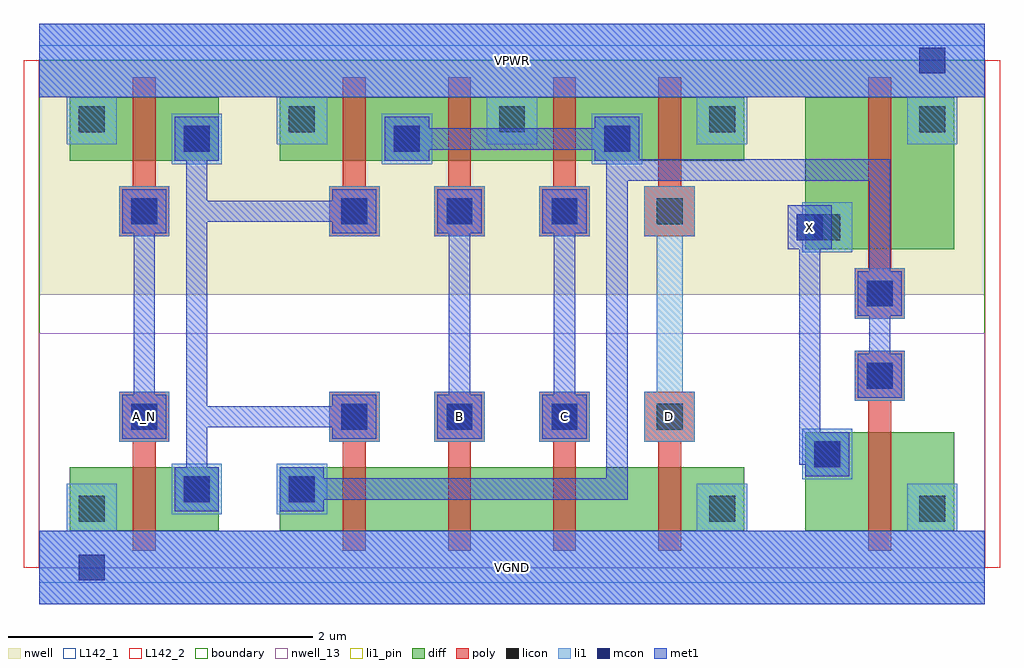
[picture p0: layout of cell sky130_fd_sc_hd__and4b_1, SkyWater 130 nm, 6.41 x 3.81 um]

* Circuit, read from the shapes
.subckt sky130_fd_sc_hd__and4b_1 A_N B C D VGND VPWR X
XM1 n1 A_N VGND VSUBS sky130_fd_pr__nfet_01v8 w=0.42 l=0.15
XM2 n2 n1 n3 VSUBS sky130_fd_pr__nfet_01v8 w=0.42 l=0.15
XM3 n4 B n2 VSUBS sky130_fd_pr__nfet_01v8 w=0.42 l=0.15
XM4 n5 C n4 VSUBS sky130_fd_pr__nfet_01v8 w=0.42 l=0.15
XM5 VGND D n5 VSUBS sky130_fd_pr__nfet_01v8 w=0.42 l=0.15
XM6 VGND n3 X VSUBS sky130_fd_pr__nfet_01v8 w=0.65 l=0.15
XM7 n1 A_N VPWR n6 sky130_fd_pr__pfet_01v8 w=0.42 l=0.15
XM8 n3 n1 VPWR n6 sky130_fd_pr__pfet_01v8 w=0.42 l=0.15
XM9 VPWR B n3 n6 sky130_fd_pr__pfet_01v8 w=0.42 l=0.15
XM10 n3 C VPWR n6 sky130_fd_pr__pfet_01v8 w=0.42 l=0.15
XM11 VPWR D n3 n6 sky130_fd_pr__pfet_01v8 w=0.42 l=0.15
XM12 VPWR n3 X n6 sky130_fd_pr__pfet_01v8 w=1 l=0.15
.ends

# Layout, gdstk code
import gdstk
lib = gdstk.Library(unit=1e-6, precision=1e-09)
def R(c, l, rs):  # rectangles x0, y0, x1, y1
    for r in rs: c.add(gdstk.rectangle(r[:2], r[2:], *l))
def A(c, l, x, y, w, h, nx, ny, dx, dy):  # array of equal rectangles
    R(c, l, [(x+i*dx, y+j*dy, x+i*dx+w, y+j*dy+h) for i in range(nx) for j in range(ny)])
def P(c, l, *ps):  # polygons
    for p in ps: c.add(gdstk.Polygon(p, *l))
nwell_13 = (64, 13)
nwell = (64, 20)
diff = (65, 20)
poly = (66, 20)
licon = (66, 44)
li1_pin = (67, 16)
li1 = (67, 20)
mcon = (67, 44)
met1 = (68, 20)
L142_1 = (142, 1)
L142_2 = (142, 2)
boundary = (235, 4)

sky130_fd_sc_hd__and4b_1 = lib.new_cell('sky130_fd_sc_hd__and4b_1')
R(sky130_fd_sc_hd__and4b_1, nwell_13, [(0,0,6.21,1.54)])
R(sky130_fd_sc_hd__and4b_1, nwell, [(0,1.79,6.21,3.33)])
A(sky130_fd_sc_hd__and4b_1, diff, 1.995, 0.24, 0.69, 0.42, 3, 2, 0.69, 2.43)
R(sky130_fd_sc_hd__and4b_1, diff, [(0.2,0.24,1.18,0.66), (0.2,0.24,0.615,0.66), (0.615,0.24,1.18,0.66), (1.58,0.24,4.63,0.66), (1.58,0.24,1.995,0.66), (4.065,0.24,4.63,0.66), (5.03,0.24,6.01,0.89), (5.03,0.24,5.445,0.89), (5.445,0.24,6.01,0.89), (5.03,2.09,6.01,3.09), (5.03,2.09,5.445,3.09), (5.445,2.09,6.01,3.09), (0.2,2.67,1.18,3.09), (0.2,2.67,0.615,3.09), (0.615,2.67,1.18,3.09), (1.58,2.67,4.63,3.09), (1.58,2.67,1.995,3.09), (4.065,2.67,4.63,3.09)])
P(sky130_fd_sc_hd__and4b_1, poly, [(2.685,0.11),(2.685,0.825),(2.595,0.825),(2.595,1.155),(2.925,1.155),(2.925,0.825),(2.835,0.825),(2.835,0.11)],
  [(2.595,2.175),(2.595,2.505),(2.685,2.505),(2.685,3.22),(2.835,3.22),(2.835,2.505),(2.925,2.505),(2.925,2.175)],
  [(5.445,0.11),(5.445,1.095),(5.355,1.095),(5.355,1.425),(5.685,1.425),(5.685,1.095),(5.595,1.095),(5.595,0.11)],
  [(5.355,1.635),(5.355,1.965),(5.445,1.965),(5.445,3.22),(5.595,3.22),(5.595,1.965),(5.685,1.965),(5.685,1.635)],
  [(4.065,0.11),(4.065,0.825),(3.975,0.825),(3.975,1.155),(4.305,1.155),(4.305,0.825),(4.215,0.825),(4.215,0.11)],
  [(3.975,2.175),(3.975,2.505),(4.065,2.505),(4.065,3.22),(4.215,3.22),(4.215,2.505),(4.305,2.505),(4.305,2.175)],
  [(0.615,0.11),(0.615,0.825),(0.525,0.825),(0.525,1.155),(0.855,1.155),(0.855,0.825),(0.765,0.825),(0.765,0.11)],
  [(0.525,2.175),(0.525,2.505),(0.615,2.505),(0.615,3.22),(0.765,3.22),(0.765,2.505),(0.855,2.505),(0.855,2.175)],
  [(3.375,0.11),(3.375,0.825),(3.285,0.825),(3.285,1.155),(3.615,1.155),(3.615,0.825),(3.525,0.825),(3.525,0.11)],
  [(3.285,2.175),(3.285,2.505),(3.375,2.505),(3.375,3.22),(3.525,3.22),(3.525,2.505),(3.615,2.505),(3.615,2.175)],
  [(1.995,0.11),(1.995,0.825),(1.905,0.825),(1.905,1.155),(2.235,1.155),(2.235,0.825),(2.145,0.825),(2.145,0.11)],
  [(1.905,2.175),(1.905,2.505),(1.995,2.505),(1.995,3.22),(2.145,3.22),(2.145,2.505),(2.235,2.505),(2.235,2.175)])
A(sky130_fd_sc_hd__and4b_1, licon, 1.985, 0.905, 0.17, 0.17, 4, 2, 0.69, 1.35)
A(sky130_fd_sc_hd__and4b_1, licon, 0.95, 2.73, 0.17, 0.17, 3, 1, 1.38, 0)
A(sky130_fd_sc_hd__and4b_1, licon, 0.26, 2.86, 0.17, 0.17, 5, 1, 1.38, 0)
R(sky130_fd_sc_hd__and4b_1, licon, [(0.26,0.3,0.43,0.47), (4.4,0.3,4.57,0.47), (5.78,0.3,5.95,0.47), (0.95,0.43,1.12,0.6), (1.64,0.43,1.81,0.6), (5.09,0.66,5.26,0.83), (0.605,0.905,0.775,1.075), (5.435,1.175,5.605,1.345), (5.435,1.715,5.605,1.885), (5.09,2.15,5.26,2.32), (0.605,2.255,0.775,2.425)])
R(sky130_fd_sc_hd__and4b_1, li1_pin, [(0,-0.24,6.21,0.24), (0.525,0.825,0.855,1.155), (2.595,0.825,2.925,1.155), (3.285,0.825,3.615,1.155), (0,3.09,6.21,3.57)])
P(sky130_fd_sc_hd__and4b_1, li1_pin, [(5.01,2.07),(5.01,2.15),(4.975,2.15),(4.975,2.32),(5.01,2.32),(5.01,2.4),(5.34,2.4),(5.34,2.07)],
  [(3.975,0.825),(3.975,1.155),(4.055,1.155),(4.055,2.175),(3.975,2.175),(3.975,2.505),(4.305,2.505),(4.305,2.175),(4.225,2.175),(4.225,1.155),(4.305,1.155),(4.305,0.825)])
A(sky130_fd_sc_hd__and4b_1, li1, 1.905, 0.825, 0.33, 0.33, 3, 2, 0.69, 1.35)
A(sky130_fd_sc_hd__and4b_1, li1, 0.87, 2.65, 0.33, 0.33, 3, 1, 1.38, 0)
R(sky130_fd_sc_hd__and4b_1, li1, [(0.87,0.35,1.2,0.68), (1.56,0.35,1.89,0.68), (5.01,0.58,5.34,0.91), (0.525,0.825,0.855,1.155), (5.355,1.095,5.685,1.425), (5.355,1.635,5.685,1.965), (0.525,2.175,0.855,2.505)])
P(sky130_fd_sc_hd__and4b_1, li1, [(3.975,0.825),(3.975,1.155),(4.055,1.155),(4.055,2.175),(3.975,2.175),(3.975,2.505),(4.305,2.505),(4.305,2.175),(4.225,2.175),(4.225,1.155),(4.305,1.155),(4.305,0.825)],
  [(0.18,2.78),(0.18,3.09),(0,3.09),(0,3.57),(6.21,3.57),(6.21,3.09),(6.03,3.09),(6.03,2.78),(5.7,2.78),(5.7,3.09),(4.65,3.09),(4.65,2.78),(4.32,2.78),(4.32,3.09),(3.27,3.09),(3.27,2.78),(2.94,2.78),(2.94,3.09),(1.89,3.09),(1.89,2.78),(1.56,2.78),(1.56,3.09),(0.51,3.09),(0.51,2.78)],
  [(0,-0.24),(0,0.24),(0.18,0.24),(0.18,0.55),(0.51,0.55),(0.51,0.24),(4.32,0.24),(4.32,0.55),(4.65,0.55),(4.65,0.24),(5.7,0.24),(5.7,0.55),(6.03,0.55),(6.03,0.24),(6.21,0.24),(6.21,-0.24)],
  [(5.01,2.07),(5.01,2.15),(4.975,2.15),(4.975,2.32),(5.01,2.32),(5.01,2.4),(5.34,2.4),(5.34,2.07)])
A(sky130_fd_sc_hd__and4b_1, mcon, 1.985, 0.905, 0.17, 0.17, 3, 2, 0.69, 1.35)
A(sky130_fd_sc_hd__and4b_1, mcon, 0.95, 2.73, 0.17, 0.17, 3, 1, 1.38, 0)
R(sky130_fd_sc_hd__and4b_1, mcon, [(0.26,-0.085,0.43,0.085), (0.95,0.43,1.12,0.6), (1.64,0.43,1.81,0.6), (5.09,0.66,5.26,0.83), (0.605,0.905,0.775,1.075), (5.435,1.175,5.605,1.345), (5.435,1.715,5.605,1.885), (4.975,2.15,5.145,2.32), (0.605,2.255,0.775,2.425), (5.78,3.245,5.95,3.415)])
R(sky130_fd_sc_hd__and4b_1, met1, [(0,-0.24,6.21,0.24), (0,3.09,6.21,3.57)])
P(sky130_fd_sc_hd__and4b_1, met1, [(2.615,0.845),(2.615,1.135),(2.69,1.135),(2.69,2.195),(2.615,2.195),(2.615,2.485),(2.905,2.485),(2.905,2.195),(2.83,2.195),(2.83,1.135),(2.905,1.135),(2.905,0.845)],
  [(1.58,0.37),(1.58,0.66),(1.87,0.66),(1.87,0.585),(3.725,0.585),(3.725,2.67),(3.65,2.67),(3.65,2.745),(2.56,2.745),(2.56,2.67),(2.27,2.67),(2.27,2.96),(2.56,2.96),(2.56,2.885),(3.65,2.885),(3.65,2.96),(3.94,2.96),(3.94,2.68),(5.59,2.68),(5.59,1.945),(5.665,1.945),(5.665,1.655),(5.59,1.655),(5.59,1.405),(5.665,1.405),(5.665,1.115),(5.375,1.115),(5.375,1.405),(5.45,1.405),(5.45,1.655),(5.375,1.655),(5.375,1.945),(5.45,1.945),(5.45,2.54),(3.865,2.54),(3.865,0.445),(1.87,0.445),(1.87,0.37)],
  [(0.545,0.845),(0.545,1.135),(0.62,1.135),(0.62,2.195),(0.545,2.195),(0.545,2.485),(0.835,2.485),(0.835,2.195),(0.76,2.195),(0.76,1.135),(0.835,1.135),(0.835,0.845)],
  [(3.305,0.845),(3.305,1.135),(3.38,1.135),(3.38,2.195),(3.305,2.195),(3.305,2.485),(3.595,2.485),(3.595,2.195),(3.52,2.195),(3.52,1.135),(3.595,1.135),(3.595,0.845)],
  [(0.89,0.37),(0.89,0.66),(0.965,0.66),(0.965,2.67),(0.89,2.67),(0.89,2.96),(1.18,2.96),(1.18,2.67),(1.105,2.67),(1.105,2.41),(1.925,2.41),(1.925,2.485),(2.215,2.485),(2.215,2.195),(1.925,2.195),(1.925,2.27),(1.105,2.27),(1.105,1.06),(1.925,1.06),(1.925,1.135),(2.215,1.135),(2.215,0.845),(1.925,0.845),(1.925,0.92),(1.105,0.92),(1.105,0.66),(1.18,0.66),(1.18,0.37)],
  [(5.03,0.6),(5.03,0.675),(4.99,0.675),(4.99,2.09),(4.915,2.09),(4.915,2.38),(5.205,2.38),(5.205,2.09),(5.13,2.09),(5.13,0.89),(5.32,0.89),(5.32,0.6)])
R(sky130_fd_sc_hd__and4b_1, L142_1, [(0,-0.1,6.21,0), (0,3.33,6.21,3.43)])
R(sky130_fd_sc_hd__and4b_1, L142_2, [(-0.1,0,0,3.33), (6.21,0,6.31,3.33)])
R(sky130_fd_sc_hd__and4b_1, boundary, [(0,0,6.21,3.33)])
sky130_fd_sc_hd__and4b_1.add(gdstk.Label('X', (5.06,2.235), layer=67, texttype=5))
sky130_fd_sc_hd__and4b_1.add(gdstk.Label('A_N', (0.69,0.99), layer=67, texttype=5))
sky130_fd_sc_hd__and4b_1.add(gdstk.Label('C', (3.45,0.99), layer=67, texttype=5))
sky130_fd_sc_hd__and4b_1.add(gdstk.Label('B', (2.76,0.99), layer=67, texttype=5))
sky130_fd_sc_hd__and4b_1.add(gdstk.Label('D', (4.14,0.99), layer=67, texttype=5))
sky130_fd_sc_hd__and4b_1.add(gdstk.Label('VGND', (3.105,0), layer=67, texttype=5))
sky130_fd_sc_hd__and4b_1.add(gdstk.Label('VPWR', (3.105,3.33), layer=67, texttype=5))
sky130_fd_sc_hd__and4b_1.add(gdstk.Label('VGND', (3.105,0), layer=68, texttype=5))
sky130_fd_sc_hd__and4b_1.add(gdstk.Label('VPWR', (3.105,3.33), layer=68, texttype=5))

lib.write_gds('sky130_fd_sc_hd__and4b_1.gds')
